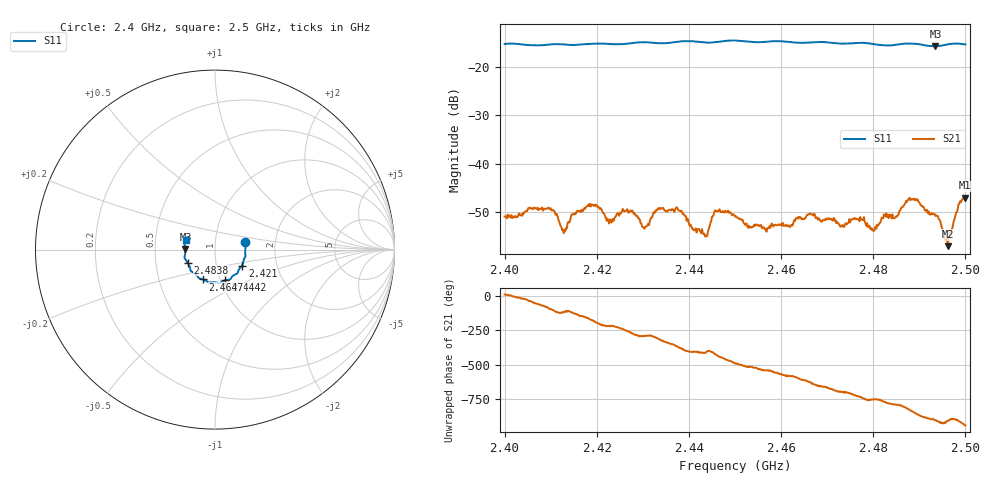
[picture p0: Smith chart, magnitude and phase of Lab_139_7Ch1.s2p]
# Hz S RI R 50
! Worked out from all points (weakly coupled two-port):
!   601 points, 2.4 GHz to 2.5 GHz, reference 50 ohm
!   highest |S21| = -47.04 dB at 2.4998 GHz (marker M1); lowest = -57.1 dB at 2.4962 GHz (marker M2)
!   lowest |S11| = -15.7 dB at 2.4935 GHz (marker M3), VSWR 1.39, Z = 35.8 + j0.19 ohm
!   |S11| at or under -10 dB: start of sweep to end of sweep
!   S12 and S22 are empty: the file has one direction only
!   S11 on the Smith chart (normalised r, x): 2.4 GHz: 1.40, +0.12; 2.421 GHz: 1.33, -0.24; 2.4442 GHz: 1.05, -0.37; 2.4647 GHz: 0.83, -0.28; 2.4838 GHz: 0.73, -0.11; 2.5 GHz: 0.71, +0.08
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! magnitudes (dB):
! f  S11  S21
! 2.4 GHz  -15.2  -50.9
! 2.4095 GHz  -15.3  -49.1
! 2.413 GHz  -15.3  -53.8
! 2.4167 GHz  -15.3  -50.0
! 2.421 GHz  -15.1  -49.4
! 2.4277 GHz  -15.0  -49.7
! 2.4303 GHz  -14.8  -53.5
! 2.4333 GHz  -15.0  -49.2
! 2.4442 GHz  -14.9  -53.9
! 2.4462 GHz  -14.8  -49.8
! 2.45 GHz  -14.5  -50.9
! 2.4568 GHz  -14.7  -54.1
! 2.4647 GHz  -14.9  -51.3
! 2.4667 GHz  -14.8  -50.5
! 2.4798 GHz  -15.2  -53.8
! 2.4833 GHz  -15.5  -51.3
! 2.4838 GHz  -15.5  -50.6
! 2.4883 GHz  -15.1  -47.5
! 2.4935 GHz  -15.7  -50.8
! 2.4962 GHz  -15.3  -57.1
! 2.4998 GHz  -15.2  -47.0
! 2.5 GHz  -15.3  -47.4
